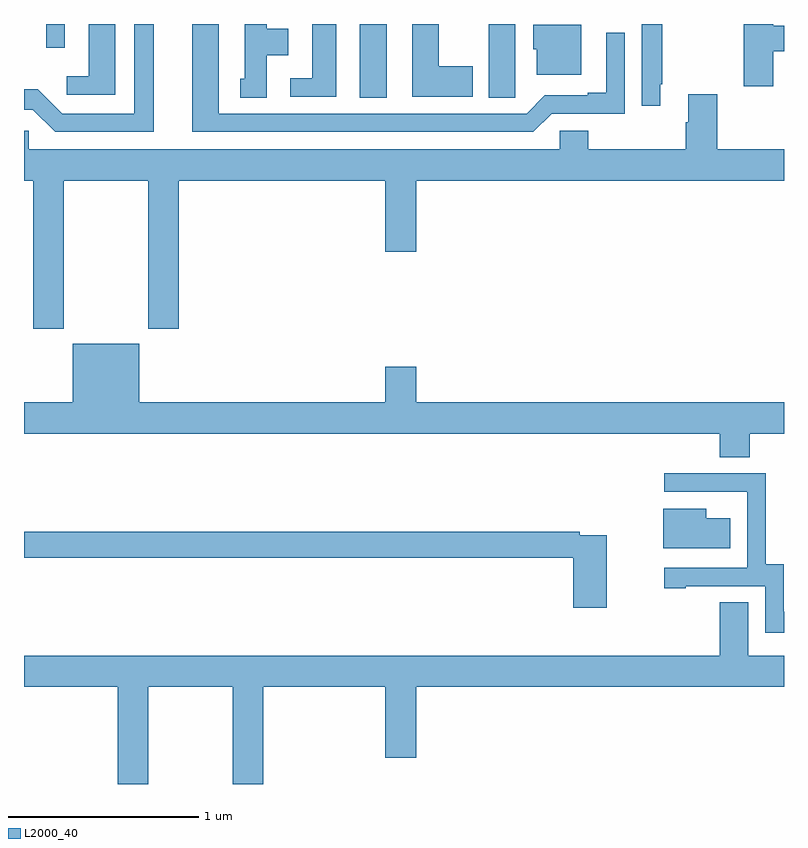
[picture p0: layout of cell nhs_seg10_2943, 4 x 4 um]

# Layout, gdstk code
import gdstk
lib = gdstk.Library(unit=1e-6, precision=1e-09)
def R(c, l, rs):  # rectangles x0, y0, x1, y1
    for r in rs: c.add(gdstk.rectangle(r[:2], r[2:], *l))
def P(c, l, *ps):  # polygons
    for p in ps: c.add(gdstk.Polygon(p, *l))
L2000_40 = (2000, 40)

nhs_seg10_2943 = lib.new_cell('nhs_seg10_2943')
R(nhs_seg10_2943, L2000_40, [(272.768,1274.113,272.908,1274.5), (271.118,1274.376,271.215,1274.5)])
P(nhs_seg10_2943, L2000_40, [(272.278,1274.336),(272.392,1274.336),(272.392,1274.476),(272.278,1274.476),(272.278,1274.5),(272.162,1274.5),(272.162,1274.211),(272.138,1274.211),(272.138,1274.113),(272.278,1274.113)],
  [(271.48,1274.5),(271.34,1274.5),(271.34,1274.224),(271.224,1274.224),(271.224,1274.127),(271.48,1274.127)],
  [(271.684,1274.5),(271.58,1274.5),(271.58,1274.028),(271.2,1274.028),(271.072,1274.156),(271,1274.156),(271,1274.049),(271.047,1274.049),(271.164,1273.932),(271.684,1273.932)],
  [(273.361,1274.277),(273.184,1274.277),(273.184,1274.5),(273.044,1274.5),(273.044,1274.117),(273.361,1274.117)],
  [(273.777,1274.028),(274.161,1274.028),(274.161,1274.455),(274.064,1274.455),(274.064,1274.137),(273.968,1274.137),(273.968,1274.124),(273.741,1274.124),(273.645,1274.028),(272.026,1274.028),(272.026,1274.5),(271.886,1274.5),(271.886,1273.932),(273.681,1273.932)],
  [(272.644,1274.5),(272.516,1274.5),(272.516,1274.214),(272.4,1274.214),(272.4,1274.118),(272.644,1274.118)],
  [(273.585,1274.224),(273.586,1274.224),(273.586,1274.5),(273.446,1274.5),(273.446,1274.113),(273.585,1274.113)],
  [(274.348,1274.182),(274.36,1274.182),(274.36,1274.5),(274.251,1274.5),(274.251,1274.07),(274.348,1274.07)],
  [(274.943,1274.356),(275,1274.356),(275,1274.492),(274.943,1274.492),(274.943,1274.5),(274.789,1274.5),(274.789,1274.172),(274.943,1274.172)],
  [(273.934,1274.497),(273.68,1274.497),(273.68,1274.367),(273.698,1274.367),(273.698,1274.234),(273.934,1274.234)],
  [(271.209,1273.676),(271.654,1273.676),(271.654,1272.897),(271.814,1272.897),(271.814,1273.676),(272.9,1273.676),(272.9,1273.302),(273.064,1273.302),(273.064,1273.676),(275,1273.676),(275,1273.84),(274.649,1273.84),(274.649,1274.131),(274.496,1274.131),(274.496,1273.982),(274.484,1273.982),(274.484,1273.84),(273.971,1273.84),(273.971,1273.938),(273.819,1273.938),(273.819,1273.84),(271.026,1273.84),(271.026,1273.938),(271,1273.938),(271,1273.676),(271.049,1273.676),(271.049,1272.897),(271.209,1272.897)],
  [(273.064,1272.697),(272.9,1272.697),(272.9,1272.508),(271.606,1272.508),(271.606,1272.817),(271.256,1272.817),(271.256,1272.508),(271,1272.508),(271,1272.344),(274.661,1272.344),(274.661,1272.22),(274.821,1272.22),(274.821,1272.344),(275,1272.344),(275,1272.508),(273.064,1272.508)],
  [(275,1271.406),(274.999,1271.406),(274.999,1271.657),(274.905,1271.657),(274.905,1272.135),(274.371,1272.135),(274.371,1272.039),(274.805,1272.039),(274.805,1272.038),(274.806,1272.038),(274.806,1271.637),(274.371,1271.637),(274.371,1271.529),(274.483,1271.529),(274.483,1271.541),(274.902,1271.541),(274.902,1271.295),(275,1271.295)],
  [(274.717,1271.899),(274.591,1271.899),(274.591,1271.95),(274.364,1271.95),(274.364,1271.741),(274.717,1271.741)],
  [(274.068,1271.808),(273.926,1271.808),(273.926,1271.828),(271,1271.828),(271,1271.692),(273.89,1271.692),(273.89,1271.427),(274.068,1271.427)],
  [(271.653,1271.012),(272.098,1271.012),(272.098,1270.5),(272.258,1270.5),(272.258,1271.012),(272.9,1271.012),(272.9,1270.638),(273.064,1270.638),(273.064,1271.012),(275,1271.012),(275,1271.176),(274.813,1271.176),(274.813,1271.456),(274.661,1271.456),(274.661,1271.176),(271,1271.176),(271,1271.012),(271.493,1271.012),(271.493,1270.5),(271.653,1270.5)])

lib.write_gds('nhs_seg10_2943.gds')
